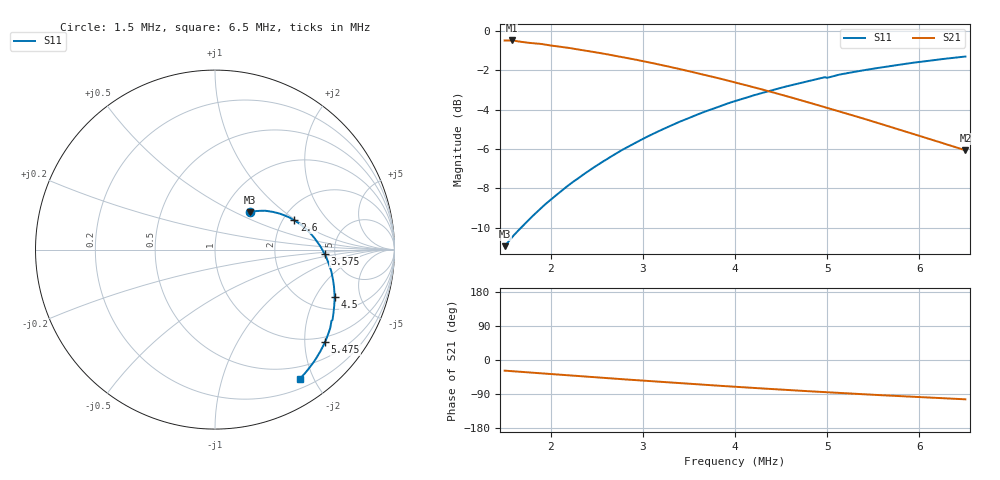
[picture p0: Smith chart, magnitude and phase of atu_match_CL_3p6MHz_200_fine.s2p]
! S11/S21 from S-A-A-2 VNA
! Written 2026-11-14 07:58:48 by the saav2 MCP server
! S12 and S22 were not measured (1.5-port VNA) and are written as 0
# HZ S RI R 50
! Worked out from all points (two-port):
!   201 points, 1.5 MHz to 6.5 MHz, reference 50 ohm
!   highest |S21| = -0.48 dB at 1.575 MHz (marker M1); lowest = -6.1 dB at 6.5 MHz (marker M2)
!   |S21| within 3 dB of the highest: start of sweep to 4.685 MHz
!   lowest |S11| = -10.9 dB at 1.5 MHz (marker M3), VSWR 1.79, Z = 66.1 + j30 ohm
!   |S11| at or under -10 dB: start of sweep to 1.679 MHz
!   S12 and S22 are empty: the file has one direction only
!   S11 on the Smith chart (normalised r, x): 1.5 MHz: 1.32, +0.60; 2.6 MHz: 2.30, +0.96; 3.575 MHz: 4.11, -0.32; 4.5 MHz: 2.66, -2.92; 5.475 MHz: 0.87, -2.48; 6.5 MHz: 0.32, -1.81
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1500000  0.1926 0.2083  0.8348 -0.4452  0 0  0 0
1575000  0.2087 0.2128  0.8248 -0.464  0 0  0 0
1900000  0.2823 0.2163  0.7574 -0.5344  0 0  0 0
2175000  0.3459 0.2053  0.6941 -0.5852  0 0  0 0
2350000  0.3861 0.1912  0.6513 -0.6124  0 0  0 0
2600000  0.4413 0.1633  0.589 -0.6454  0 0  0 0
2850000  0.4934 0.1263  0.5256 -0.6706  0 0  0 0
3175000  0.5528 0.0659  0.4429 -0.6925  0 0  0 0
3350000  0.5807 0.0282  0.3987 -0.6995  0 0  0 0
3575000  0.6103 -0.0243  0.3439 -0.7038  0 0  0 0
3725000  0.6273 -0.061  0.3082 -0.7036  0 0  0 0
4000000  0.6502 -0.1317  0.2455 -0.6983  0 0  0 0
4250000  0.6623 -0.1984  0.1922 -0.6884  0 0  0 0
4500000  0.6661 -0.2659  0.1418 -0.6743  0 0  0 0
4850000  0.6594 -0.3588  0.0785 -0.6481  0 0  0 0
4975000  0.6548 -0.392  0.0577 -0.6377  0 0  0 0
5000000  0.6491 -0.3962  0.0536 -0.6357  0 0  0 0
5175000  0.6404 -0.4423  0.0267 -0.62  0 0  0 0
5475000  0.613 -0.5149  -0.0151 -0.5907  0 0  0 0
5675000  0.5904 -0.5602  -0.0397 -0.5702  0 0  0 0
6050000  0.5412 -0.6389  -0.0798 -0.5307  0 0  0 0
6500000  0.4717 -0.7207  -0.1181 -0.4833  0 0  0 0
